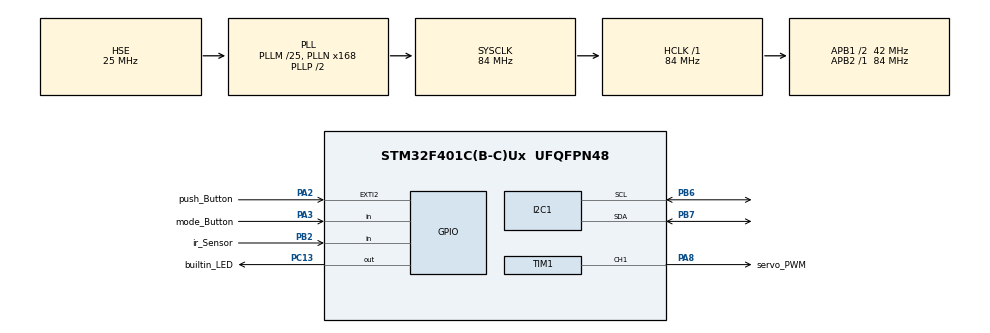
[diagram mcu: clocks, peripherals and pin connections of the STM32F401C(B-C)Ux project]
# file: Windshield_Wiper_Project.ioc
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I2C1.I2C_Mode=I2C_Fast
Mcu.Family=STM32F4
Mcu.Name=STM32F401C(B-C)Ux
Mcu.Package=UFQFPN48
NVIC.EXTI2_IRQn=true\:0\:0\:false\:false\:true\:true\:true
NVIC.PriorityGroup=NVIC_PRIORITYGROUP_4
PA13.Mode=Serial_Wire
PA13.Signal=SYS_JTMS-SWDIO
PA14.Mode=Serial_Wire
PA14.Signal=SYS_JTCK-SWCLK
PA2.GPIO_Label=push_Button
PA2.Signal=GPXTI2
PA3.GPIO_Label=mode_Button
PA3.Signal=GPIO_Input
PA8.GPIO_Label=servo_PWM
PA8.Signal=S_TIM1_CH1
PB2.GPIO_Label=ir_Sensor
PB2.Signal=GPIO_Input
PB6.Mode=I2C
PB6.Signal=I2C1_SCL
PB7.Mode=I2C
PB7.Signal=I2C1_SDA
PC13-ANTI_TAMP.GPIO_Label=builtin_LED
PC13-ANTI_TAMP.Signal=GPIO_Output
PH0\ -\ OSC_IN.Mode=HSE-External-Oscillator
PH0\ -\ OSC_IN.Signal=RCC_OSC_IN
PH1\ -\ OSC_OUT.Mode=HSE-External-Oscillator
PH1\ -\ OSC_OUT.Signal=RCC_OSC_OUT
ProjectManager.HeapSize=0x200
ProjectManager.StackSize=0x400
ProjectManager.TargetToolchain=MDK-ARM V5.32
RCC.48MHZClocksFreq_Value=42000000
RCC.AHBFreq_Value=84000000
RCC.APB1CLKDivider=RCC_HCLK_DIV2
RCC.APB1Freq_Value=42000000
RCC.APB1TimFreq_Value=84000000
RCC.APB2Freq_Value=84000000
RCC.APB2TimFreq_Value=84000000
RCC.CortexFreq_Value=84000000
RCC.HCLKFreq_Value=84000000
RCC.HSE_VALUE=25000000
RCC.HSI_VALUE=16000000
RCC.LSE_VALUE=32768
RCC.PLLM=25
RCC.PLLN=168
RCC.PLLSourceVirtual=RCC_PLLSOURCE_HSE
RCC.SYSCLKFreq_VALUE=84000000
RCC.SYSCLKSource=RCC_SYSCLKSOURCE_PLLCLK
RCC.VCOOutputFreq_Value=168000000
SH.S_TIM1_CH1.0=TIM1_CH1,PWM Generation1 CH1
TIM1.Channel-PWM\ Generation1\ CH1=TIM_CHANNEL_1
TIM1.Period=20000
TIM1.Prescaler=84
TIM1.Pulse-PWM\ Generation1\ CH1=50
board=custom

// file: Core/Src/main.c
/* USER CODE BEGIN Header */
/**
  ******************************************************************************
  * @file           : main.c
  * @brief          : Main program body
  ******************************************************************************
  * @attention
  *
  * <h2><center>&copy; Copyright (c) 2021 STMicroelectronics.
  * All rights reserved.</center></h2>
  *
  * This software component is licensed by ST under BSD 3-Clause license,
  * the "License"; You may not use this file except in compliance with the
  * License. You may obtain a copy of the License at:
  *                        opensource.org/licenses/BSD-3-Clause
  *
  ******************************************************************************
  */
/* USER CODE END Header */
#include "main.h"

/* USER CODE BEGIN Includes */
#include "globalVar.h"
#include "servo.h"
#include "ssd1306.h"
#include "ssd1306_fonts.h"
/* USER CODE END Includes */

I2C_HandleTypeDef hi2c1;

TIM_HandleTypeDef htim1;

/* USER CODE BEGIN PV */
uint8_t AUTO = 0; // Variable switches between 2 values (0,1) by interrupt
/* USER CODE END PV */

void SystemClock_Config(void);
static void MX_GPIO_Init(void);
static void MX_I2C1_Init(void);
static void MX_TIM1_Init(void);

int main(void)
{

  /* MCU Configuration--------------------------------------------------------*/

  /* Reset of all peripherals, Initializes the Flash interface and the Systick. */
  HAL_Init();

  /* Configure the system clock */
  SystemClock_Config();

  /* Initialize all configured peripherals */
  MX_GPIO_Init();
  MX_I2C1_Init();
  MX_TIM1_Init();
  /* USER CODE BEGIN 2 */
  HAL_TIM_PWM_Start(&htim1, TIM_CHANNEL_1);

  servo_stop();

  ssd1306_Init();

  ssd1306_Fill(Black);
  ssd1306_SetCursor(2, 2);
  ssd1306_WriteString("Wiper Project", Font_16x26, White);
  ssd1306_UpdateScreen();
  HAL_Delay(3000);

  /* USER CODE END 2 */

  /* Infinite loop */
  while (1)
  {

    /* USER CODE BEGIN 3 */
    /* Automatic mode */
	  if(AUTO == 1) // Interrupt by button
	  {
		  HAL_Delay(50);
		  if(HAL_GPIO_ReadPin(GPIOB, ir_Sensor_Pin) == 1)
		  {
        /* Idle */
			  servo_stop();
			  ssd1306_SetCursor(1, 2);
        ssd1306_WriteString("Wiper: OFF", Font_16x26, White);
			  ssd1306_SetCursor(2, 2);
			  ssd1306_WriteString("Mode: AUTO", Font_16x26, White);
        ssd1306_UpdateScreen();
		  }
		  else // IR Sensor detects raindrops
		  {
			  ssd1306_SetCursor(1, 2);
        ssd1306_WriteString("Wiper: ON", Font_16x26, White);
			  ssd1306_SetCursor(2, 2);
			  ssd1306_WriteString("Mode: AUTO", Font_16x26, White);
        ssd1306_UpdateScreen();
		  	servo_wipe();
		  }
	  }
    /* Manual mode */
    else
	  {
      /* Idle */
		  HAL_Delay(50);
		  ssd1306_SetCursor(1, 2)
      ssd1306_WriteString("Wiper: OFF", Font_16x26, White);
		  ssd1306_SetCursor(2, 2);
		  ssd1306_WriteString("Mode: MANUAL", Font_16x26, White);
      ssd1306_UpdateScreen();
		  if(HAL_GPIO_ReadPin(GPIOA, mode_Button_Pin) == 1) // if Push button is pressed
		  {
			  ssd1306_SetCursor(1, 2);
        ssd1306_WriteString("Wiper: ON", Font_16x26, White);
		    ssd1306_SetCursor(2, 2);
			  ssd1306_WriteString("Mode: MANUAL", Font_16x26, White);
        ssd1306_UpdateScreen();
	      servo_wipe();
		  }
	  }
  }
  /* USER CODE END 3 */
}

void SystemClock_Config(void)
{
  RCC_OscInitTypeDef RCC_OscInitStruct = {0};
  RCC_ClkInitTypeDef RCC_ClkInitStruct = {0};

  /** Configure the main internal regulator output voltage
  */
  __HAL_RCC_PWR_CLK_ENABLE();
  __HAL_PWR_VOLTAGESCALING_CONFIG(PWR_REGULATOR_VOLTAGE_SCALE2);
  /** Initializes the RCC Oscillators according to the specified parameters
  * in the RCC_OscInitTypeDef structure.
  */
  RCC_OscInitStruct.OscillatorType = RCC_OSCILLATORTYPE_HSE;
  RCC_OscInitStruct.HSEState = RCC_HSE_ON;
  RCC_OscInitStruct.PLL.PLLState = RCC_PLL_ON;
  RCC_OscInitStruct.PLL.PLLSource = RCC_PLLSOURCE_HSE;
  RCC_OscInitStruct.PLL.PLLM = 25;
  RCC_OscInitStruct.PLL.PLLN = 168;
  RCC_OscInitStruct.PLL.PLLP = RCC_PLLP_DIV2;
  RCC_OscInitStruct.PLL.PLLQ = 4;
  if (HAL_RCC_OscConfig(&RCC_OscInitStruct) != HAL_OK)
  {
    Error_Handler();
  }
  /** Initializes the CPU, AHB and APB buses clocks
  */
  RCC_ClkInitStruct.ClockType = RCC_CLOCKTYPE_HCLK|RCC_CLOCKTYPE_SYSCLK
                              |RCC_CLOCKTYPE_PCLK1|RCC_CLOCKTYPE_PCLK2;
  RCC_ClkInitStruct.SYSCLKSource = RCC_SYSCLKSOURCE_PLLCLK;
  RCC_ClkInitStruct.AHBCLKDivider = RCC_SYSCLK_DIV1;
  RCC_ClkInitStruct.APB1CLKDivider = RCC_HCLK_DIV2;
  RCC_ClkInitStruct.APB2CLKDivider = RCC_HCLK_DIV1;

  if (HAL_RCC_ClockConfig(&RCC_ClkInitStruct, FLASH_LATENCY_2) != HAL_OK)
  {
    Error_Handler();
  }
}

static void MX_I2C1_Init(void)
{

  hi2c1.Instance = I2C1;
  hi2c1.Init.ClockSpeed = 400000;
  hi2c1.Init.DutyCycle = I2C_DUTYCYCLE_2;
  hi2c1.Init.OwnAddress1 = 0;
  hi2c1.Init.AddressingMode = I2C_ADDRESSINGMODE_7BIT;
  hi2c1.Init.DualAddressMode = I2C_DUALADDRESS_DISABLE;
  hi2c1.Init.OwnAddress2 = 0;
  hi2c1.Init.GeneralCallMode = I2C_GENERALCALL_DISABLE;
  hi2c1.Init.NoStretchMode = I2C_NOSTRETCH_DISABLE;
  if (HAL_I2C_Init(&hi2c1) != HAL_OK)
  {
    Error_Handler();
  }

}

static void MX_TIM1_Init(void)
{

  TIM_MasterConfigTypeDef sMasterConfig = {0};
  TIM_OC_InitTypeDef sConfigOC = {0};
  TIM_BreakDeadTimeConfigTypeDef sBreakDeadTimeConfig = {0};

  htim1.Instance = TIM1;
  htim1.Init.Prescaler = 84;
  htim1.Init.CounterMode = TIM_COUNTERMODE_UP;
  htim1.Init.Period = 20000;
  htim1.Init.ClockDivision = TIM_CLOCKDIVISION_DIV1;
  htim1.Init.RepetitionCounter = 0;
  htim1.Init.AutoReloadPreload = TIM_AUTORELOAD_PRELOAD_DISABLE;
  if (HAL_TIM_PWM_Init(&htim1) != HAL_OK)
  {
    Error_Handler();
  }
  sMasterConfig.MasterOutputTrigger = TIM_TRGO_RESET;
  sMasterConfig.MasterSlaveMode = TIM_MASTERSLAVEMODE_DISABLE;
  if (HAL_TIMEx_MasterConfigSynchronization(&htim1, &sMasterConfig) != HAL_OK)
  {
    Error_Handler();
  }
  sConfigOC.OCMode = TIM_OCMODE_PWM1;
  sConfigOC.Pulse = 50;
  sConfigOC.OCPolarity = TIM_OCPOLARITY_HIGH;
  sConfigOC.OCNPolarity = TIM_OCNPOLARITY_HIGH;
  sConfigOC.OCFastMode = TIM_OCFAST_DISABLE;
  sConfigOC.OCIdleState = TIM_OCIDLESTATE_RESET;
  sConfigOC.OCNIdleState = TIM_OCNIDLESTATE_RESET;
  if (HAL_TIM_PWM_ConfigChannel(&htim1, &sConfigOC, TIM_CHANNEL_1) != HAL_OK)
  {
    Error_Handler();
  }
  sBreakDeadTimeConfig.OffStateRunMode = TIM_OSSR_DISABLE;
  sBreakDeadTimeConfig.OffStateIDLEMode = TIM_OSSI_DISABLE;
  sBreakDeadTimeConfig.LockLevel = TIM_LOCKLEVEL_OFF;
  sBreakDeadTimeConfig.DeadTime = 0;
  sBreakDeadTimeConfig.BreakState = TIM_BREAK_DISABLE;
  sBreakDeadTimeConfig.BreakPolarity = TIM_BREAKPOLARITY_HIGH;
  sBreakDeadTimeConfig.AutomaticOutput = TIM_AUTOMATICOUTPUT_DISABLE;
  if (HAL_TIMEx_ConfigBreakDeadTime(&htim1, &sBreakDeadTimeConfig) != HAL_OK)
  {
    Error_Handler();
  }
  HAL_TIM_MspPostInit(&htim1);

}

static void MX_GPIO_Init(void)
{
  GPIO_InitTypeDef GPIO_InitStruct = {0};

  /* GPIO Ports Clock Enable */
  __HAL_RCC_GPIOC_CLK_ENABLE();
  __HAL_RCC_GPIOH_CLK_ENABLE();
  __HAL_RCC_GPIOA_CLK_ENABLE();
  __HAL_RCC_GPIOB_CLK_ENABLE();

  /*Configure GPIO pin Output Level */
  HAL_GPIO_WritePin(builtin_LED_GPIO_Port, builtin_LED_Pin, GPIO_PIN_RESET);

  /*Configure GPIO pin : builtin_LED_Pin */
  GPIO_InitStruct.Pin = builtin_LED_Pin;
  GPIO_InitStruct.Mode = GPIO_MODE_OUTPUT_PP;
  GPIO_InitStruct.Pull = GPIO_NOPULL;
  GPIO_InitStruct.Speed = GPIO_SPEED_FREQ_LOW;
  HAL_GPIO_Init(builtin_LED_GPIO_Port, &GPIO_InitStruct);

  /*Configure GPIO pin : push_Button_Pin */
  GPIO_InitStruct.Pin = push_Button_Pin;
  GPIO_InitStruct.Mode = GPIO_MODE_IT_RISING;
  GPIO_InitStruct.Pull = GPIO_NOPULL;
  HAL_GPIO_Init(push_Button_GPIO_Port, &GPIO_InitStruct);

  /*Configure GPIO pin : mode_Button_Pin */
  GPIO_InitStruct.Pin = mode_Button_Pin;
  GPIO_InitStruct.Mode = GPIO_MODE_INPUT;
  GPIO_InitStruct.Pull = GPIO_NOPULL;
  HAL_GPIO_Init(mode_Button_GPIO_Port, &GPIO_InitStruct);

  /*Configure GPIO pin : ir_Sensor_Pin */
  GPIO_InitStruct.Pin = ir_Sensor_Pin;
  GPIO_InitStruct.Mode = GPIO_MODE_INPUT;
  GPIO_InitStruct.Pull = GPIO_NOPULL;
  HAL_GPIO_Init(ir_Sensor_GPIO_Port, &GPIO_InitStruct);

  /* EXTI interrupt init*/
  HAL_NVIC_SetPriority(EXTI2_IRQn, 0, 0);
  HAL_NVIC_EnableIRQ(EXTI2_IRQn);

}

void Error_Handler(void)
{
  __disable_irq();
  while (1)
  {
  }
}

/************************ (C) COPYRIGHT STMicroelectronics *****END OF FILE****/
